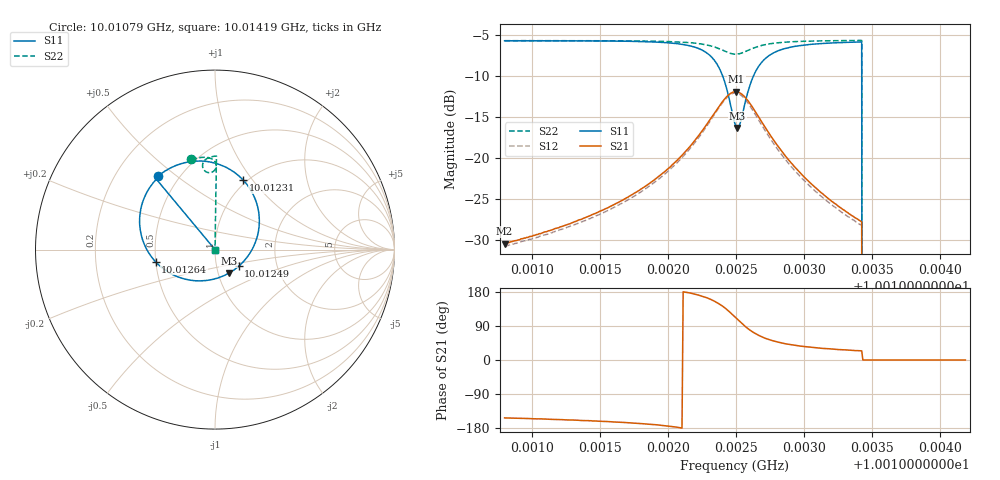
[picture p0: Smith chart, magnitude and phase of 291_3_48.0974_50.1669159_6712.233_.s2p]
#  HZ  S  RI  R  50.00
! Rohde & Schwarz Vector Network Analyzer
! Rohde-Schwarz,ZNB20-2Port,1311601062101988,3.16
! Created: UTC 12/23/2023, 4:03:46 AM
! freq[Hz]  re:S11  im:S11  re:S21  im:S21  re:S12  im:S12  re:S22  im:S22
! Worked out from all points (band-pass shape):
!   401 points, 10.01079 GHz to 10.01419 GHz, reference 50 ohm
!   highest |S21| = -11.92 dB at 10.0125 GHz (marker M1); lowest = -30.5 dB at 10.01079 GHz (marker M2)
!   |S21| within 3 dB of the highest: 10.01232 GHz to 10.01266 GHz (338.3 kHz wide, 0.00338 % of centre)
!   lowest |S11| = -16.3 dB at 10.01251 GHz (marker M3), VSWR 1.36, Z = 56.2 - j15.1 ohm
!   |S11| at or under -10 dB: 10.0124 GHz to 10.01263 GHz (226.6 kHz wide, 0.00226 % of centre); 10.01342 GHz to end of sweep
!   |S22| runs from - to -5.7 dB; largest |S21 - S12| = 0.012
!   S11 on the Smith chart (normalised r, x): 10.01079 GHz: 0.38, +0.43; 10.01231 GHz: 0.96, +0.90; 10.01249 GHz: 1.28, -0.24; 10.01264 GHz: 0.50, -0.08; 10.01419 GHz: 1.00, +0.00
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1.0010795e10  -0.3166 0.4109  -0.0266 -0.0137  -0.0249 -0.0146  -0.1319 0.5028
1.0011363e10  -0.2586 0.4492  -0.0396 -0.0147  -0.0372 -0.0163  -0.0925 0.5114
1.0011686e10  -0.2049 0.4732  -0.0546 -0.0146  -0.0516 -0.0169  -0.0672 0.5141
1.0011932e10  -0.1346 0.4904  -0.0764 -0.0111  -0.0728 -0.0148  -0.0445 0.5134
1.0012178e10  0.00906 0.4793  -0.1218 0.00969  -0.1186 0.00254  -0.015 0.5038
1.0012313e10  0.1581 0.3861  -0.1632 0.0599  -0.1629 0.0495  0.00332 0.4829
1.0012364e10  0.2177 0.2957  -0.1744 0.0998  -0.1764 0.088  0.00661 0.4679
1.0012415e10  0.247 0.1559  -0.1701 0.1529  -0.1745 0.1428  0.00241 0.4491
1.0012457e10  0.213 0.0124  -0.1416 0.2024  -0.1471 0.1942  -0.0106 0.4347
1.0012491e10  0.132 -0.0929  -0.1006 0.2325  -0.1079 0.2245  -0.0263 0.429
1.00125e10  0.1062 -0.113  -0.089 0.2372  -0.0954 0.2298  -0.0309 0.4287
1.0012508e10  0.0768 -0.1316  -0.077 0.2408  -0.0838 0.2336  -0.0349 0.4289
1.0012534e10  -0.0162 -0.1669  -0.0396 0.2443  -0.0443 0.2376  -0.0475 0.4323
1.0012568e10  -0.1405 -0.17  0.00702 0.2331  0.000277 0.2269  -0.06 0.4418
1.0012644e10  -0.3314 -0.0675  0.0671 0.1775  0.06 0.1721  -0.0693 0.469
1.001272e10  -0.4041 0.0568  0.0832 0.1255  0.0753 0.1221  -0.0637 0.4887
1.0012822e10  -0.4197 0.176  0.0788 0.0816  0.0718 0.0805  -0.051 0.5033
1.001306e10  -0.3833 0.3122  0.0573 0.0377  0.0527 0.0385  -0.0239 0.5165
1.0013408e10  -0.3289 0.3899  0.0377 0.0172  0.0348 0.0182  0.00698 0.5213
1.001345e10  0 0  0 0  0 0  0 0
1.0013628e10  0 0  0 0  0 0  0 0
1.0014188e10  0 0  0 0  0 0  0 0
